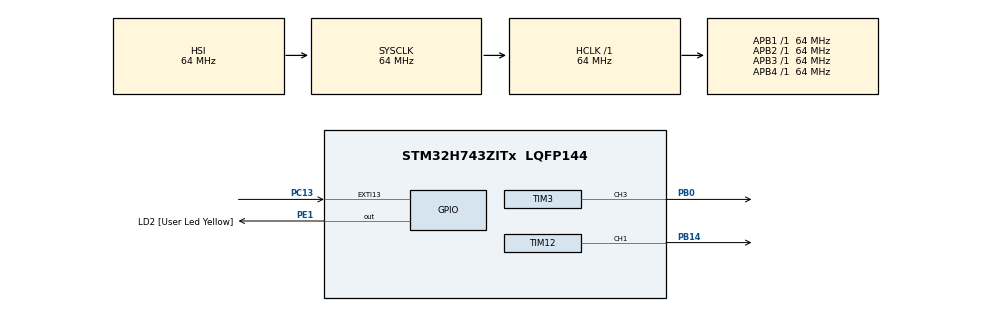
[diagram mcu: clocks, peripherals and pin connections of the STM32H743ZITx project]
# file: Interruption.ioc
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CORTEX_M7.default_mode_Activation=1
Mcu.Family=STM32H7
Mcu.Name=STM32H743ZITx
Mcu.Package=LQFP144
NVIC.EXTI15_10_IRQn=true\:0\:0\:false\:false\:true\:true\:true\:true
NVIC.PVD_AVD_IRQn=true\:0\:0\:false\:false\:true\:true\:true\:true
NVIC.PriorityGroup=NVIC_PRIORITYGROUP_4
PA13\ (JTMS/SWDIO).GPIO_Label=JTMS
PA13\ (JTMS/SWDIO).Signal=DEBUG_JTMS-SWDIO
PA14\ (JTCK/SWCLK).GPIO_Label=JTCK
PA14\ (JTCK/SWCLK).Signal=DEBUG_JTCK-SWCLK
PB0.Signal=S_TIM3_CH3
PB14.Signal=S_TIM12_CH1
PC13.Signal=GPXTI13
PC14-OSC32_IN\ (OSC32_IN).Signal=RCC_OSC32_IN
PC15-OSC32_OUT\ (OSC32_OUT).Signal=RCC_OSC32_OUT
PD8.GPIO_Label=STLINK_RX
PD8.Signal=USART3_TX
PD9.GPIO_Label=STLINK_TX
PD9.Signal=USART3_RX
PE1.GPIO_Label=LD2 [User Led Yellow]
PE1.Signal=GPIO_Output
PH0-OSC_IN\ (PH0).Signal=RCC_OSC_IN
PH1-OSC_OUT\ (PH1).Signal=RCC_OSC_OUT
ProjectManager.HeapSize=0x200
ProjectManager.StackSize=0x400
ProjectManager.TargetToolchain=STM32CubeIDE
RCC.ADCFreq_Value=129000000
RCC.APB1Freq_Value=64000000
RCC.APB2Freq_Value=64000000
RCC.APB3Freq_Value=64000000
RCC.APB4Freq_Value=64000000
RCC.CortexFreq_Value=64000000
RCC.HCLKFreq_Value=64000000
RCC.SYSCLKFreq_VALUE=64000000
RCC.USBFreq_Value=129000000
SH.S_TIM12_CH1.0=TIM12_CH1,PWM Generation1 CH1
SH.S_TIM3_CH3.0=TIM3_CH3,PWM Generation3 CH3
TIM12.Channel-PWM\ Generation1\ CH1=TIM_CHANNEL_1
TIM12.Period=999
TIM12.Prescaler=199
TIM3.Channel-PWM\ Generation3\ CH3=TIM_CHANNEL_3
TIM3.Period=999
TIM3.Prescaler=199
TIM3.Pulse-PWM\ Generation3\ CH3=500
VP_MEMORYMAP_VS_MEMORYMAP.Mode=CurAppReg
VP_TIM12_VS_ClockSourceINT.Mode=Internal
VP_TIM3_VS_ClockSourceINT.Mode=Internal
board=NUCLEO-H743ZI2

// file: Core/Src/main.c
/* USER CODE BEGIN Header */
/**
  ******************************************************************************
  * @file           : main.c
  * @brief          : Main program body
  ******************************************************************************
  * @attention
  *
  * Copyright (c) 2025 STMicroelectronics.
  * All rights reserved.
  *
  * This software is licensed under terms that can be found in the LICENSE file
  * in the root directory of this software component.
  * If no LICENSE file comes with this software, it is provided AS-IS.
  *
  ******************************************************************************
  */
/* USER CODE END Header */
#include "main.h"

TIM_HandleTypeDef htim3;
TIM_HandleTypeDef htim12;

/* USER CODE BEGIN PV */

volatile uint8_t activeLD = 1;

void HAL_GPIO_EXTI_Callback(uint16_t GPIO_Pin)
{
    if(GPIO_Pin == GPIO_PIN_13) {
        activeLD = !activeLD;
    }
}

/* USER CODE END PV */

void SystemClock_Config(void);
static void MPU_Config(void);
static void MX_GPIO_Init(void);
static void MX_TIM3_Init(void);
static void MX_TIM12_Init(void);

int main(void)
{

  /* MPU Configuration--------------------------------------------------------*/
  MPU_Config();

  /* MCU Configuration--------------------------------------------------------*/

  /* Reset of all peripherals, Initializes the Flash interface and the Systick. */
  HAL_Init();

  /* Configure the system clock */
  SystemClock_Config();

  /* Initialize all configured peripherals */
  MX_GPIO_Init();
  MX_TIM3_Init();
  MX_TIM12_Init();
  /* USER CODE BEGIN 2 */

  /* GPIO EXTI callback function */

  HAL_TIM_PWM_Start(&htim3, TIM_CHANNEL_3);
  HAL_TIM_PWM_Start(&htim12,TIM_CHANNEL_1);
  /* USER CODE END 2 */

  /* Infinite loop */
  /* USER CODE BEGIN WHILE */
  uint16_t dutyLD1 = 0;
  uint16_t dutyLD3 = 0;
  uint8_t increasingLD1 = 1;
  uint8_t increasingLD3 = 1;  while (1)
  {
    /* USER CODE END WHILE */

    /* USER CODE BEGIN 3 */
	  while (1)
	      {
	          if (activeLD) {  // LD1 active
	              // Update LD1 breathing
	              if (increasingLD1) {
	                  dutyLD1 += 10;
	                  if (dutyLD1 >= 1000) {
	                      increasingLD1 = 0;
	                  }
	              } else {
	                  dutyLD1 -= 10;
	                  if (dutyLD1 == 0) {
	                      increasingLD1 = 1;
	                  }
	              }
	              __HAL_TIM_SET_COMPARE(&htim3, TIM_CHANNEL_3, dutyLD1);
	              __HAL_TIM_SET_COMPARE(&htim12, TIM_CHANNEL_1, 0);  // Turn off LD3
	              dutyLD3 = 0;  // Reset LD3 state
	              increasingLD3 = 1;
	          } else {  // LD3 active
	              // Update LD3 breathing
	              if (increasingLD3) {
	                  dutyLD3 += 10;
	                  if (dutyLD3 >= 1000) {
	                      increasingLD3 = 0;
	                  }
	              } else {
	                  dutyLD3 -= 10;
	                  if (dutyLD3 == 0) {
	                      increasingLD3 = 1;
	                  }
	              }
	              __HAL_TIM_SET_COMPARE(&htim12, TIM_CHANNEL_1, dutyLD3);
	              __HAL_TIM_SET_COMPARE(&htim3, TIM_CHANNEL_3, 0);  // Turn off LD1
	              dutyLD1 = 0;  // Reset LD1 state
	              increasingLD1 = 1;
	          }

	          HAL_Delay(10);
	      }
  }
  /* USER CODE END 3 */
}

void SystemClock_Config(void)
{
  RCC_OscInitTypeDef RCC_OscInitStruct = {0};
  RCC_ClkInitTypeDef RCC_ClkInitStruct = {0};

  /** Supply configuration update enable
  */
  HAL_PWREx_ConfigSupply(PWR_LDO_SUPPLY);

  /** Configure the main internal regulator output voltage
  */
  __HAL_PWR_VOLTAGESCALING_CONFIG(PWR_REGULATOR_VOLTAGE_SCALE3);

  while(!__HAL_PWR_GET_FLAG(PWR_FLAG_VOSRDY)) {}

  /** Initializes the RCC Oscillators according to the specified parameters
  * in the RCC_OscInitTypeDef structure.
  */
  RCC_OscInitStruct.OscillatorType = RCC_OSCILLATORTYPE_HSI;
  RCC_OscInitStruct.HSIState = RCC_HSI_DIV1;
  RCC_OscInitStruct.HSICalibrationValue = RCC_HSICALIBRATION_DEFAULT;
  RCC_OscInitStruct.PLL.PLLState = RCC_PLL_NONE;
  if (HAL_RCC_OscConfig(&RCC_OscInitStruct) != HAL_OK)
  {
    Error_Handler();
  }

  /** Initializes the CPU, AHB and APB buses clocks
  */
  RCC_ClkInitStruct.ClockType = RCC_CLOCKTYPE_HCLK|RCC_CLOCKTYPE_SYSCLK
                              |RCC_CLOCKTYPE_PCLK1|RCC_CLOCKTYPE_PCLK2
                              |RCC_CLOCKTYPE_D3PCLK1|RCC_CLOCKTYPE_D1PCLK1;
  RCC_ClkInitStruct.SYSCLKSource = RCC_SYSCLKSOURCE_HSI;
  RCC_ClkInitStruct.SYSCLKDivider = RCC_SYSCLK_DIV1;
  RCC_ClkInitStruct.AHBCLKDivider = RCC_HCLK_DIV1;
  RCC_ClkInitStruct.APB3CLKDivider = RCC_APB3_DIV1;
  RCC_ClkInitStruct.APB1CLKDivider = RCC_APB1_DIV1;
  RCC_ClkInitStruct.APB2CLKDivider = RCC_APB2_DIV1;
  RCC_ClkInitStruct.APB4CLKDivider = RCC_APB4_DIV1;

  if (HAL_RCC_ClockConfig(&RCC_ClkInitStruct, FLASH_LATENCY_1) != HAL_OK)
  {
    Error_Handler();
  }
}

static void MX_TIM3_Init(void)
{

  TIM_ClockConfigTypeDef sClockSourceConfig = {0};
  TIM_MasterConfigTypeDef sMasterConfig = {0};
  TIM_OC_InitTypeDef sConfigOC = {0};

  htim3.Instance = TIM3;
  htim3.Init.Prescaler = 199;
  htim3.Init.CounterMode = TIM_COUNTERMODE_UP;
  htim3.Init.Period = 999;
  htim3.Init.ClockDivision = TIM_CLOCKDIVISION_DIV1;
  htim3.Init.AutoReloadPreload = TIM_AUTORELOAD_PRELOAD_DISABLE;
  if (HAL_TIM_Base_Init(&htim3) != HAL_OK)
  {
    Error_Handler();
  }
  sClockSourceConfig.ClockSource = TIM_CLOCKSOURCE_INTERNAL;
  if (HAL_TIM_ConfigClockSource(&htim3, &sClockSourceConfig) != HAL_OK)
  {
    Error_Handler();
  }
  if (HAL_TIM_PWM_Init(&htim3) != HAL_OK)
  {
    Error_Handler();
  }
  sMasterConfig.MasterOutputTrigger = TIM_TRGO_RESET;
  sMasterConfig.MasterSlaveMode = TIM_MASTERSLAVEMODE_DISABLE;
  if (HAL_TIMEx_MasterConfigSynchronization(&htim3, &sMasterConfig) != HAL_OK)
  {
    Error_Handler();
  }
  sConfigOC.OCMode = TIM_OCMODE_PWM1;
  sConfigOC.Pulse = 500;
  sConfigOC.OCPolarity = TIM_OCPOLARITY_HIGH;
  sConfigOC.OCFastMode = TIM_OCFAST_DISABLE;
  if (HAL_TIM_PWM_ConfigChannel(&htim3, &sConfigOC, TIM_CHANNEL_3) != HAL_OK)
  {
    Error_Handler();
  }
  HAL_TIM_MspPostInit(&htim3);

}

static void MX_TIM12_Init(void)
{

  TIM_ClockConfigTypeDef sClockSourceConfig = {0};
  TIM_MasterConfigTypeDef sMasterConfig = {0};
  TIM_OC_InitTypeDef sConfigOC = {0};

  htim12.Instance = TIM12;
  htim12.Init.Prescaler = 199;
  htim12.Init.CounterMode = TIM_COUNTERMODE_UP;
  htim12.Init.Period = 999;
  htim12.Init.ClockDivision = TIM_CLOCKDIVISION_DIV1;
  htim12.Init.AutoReloadPreload = TIM_AUTORELOAD_PRELOAD_DISABLE;
  if (HAL_TIM_Base_Init(&htim12) != HAL_OK)
  {
    Error_Handler();
  }
  sClockSourceConfig.ClockSource = TIM_CLOCKSOURCE_INTERNAL;
  if (HAL_TIM_ConfigClockSource(&htim12, &sClockSourceConfig) != HAL_OK)
  {
    Error_Handler();
  }
  if (HAL_TIM_PWM_Init(&htim12) != HAL_OK)
  {
    Error_Handler();
  }
  sMasterConfig.MasterOutputTrigger = TIM_TRGO_RESET;
  sMasterConfig.MasterSlaveMode = TIM_MASTERSLAVEMODE_DISABLE;
  if (HAL_TIMEx_MasterConfigSynchronization(&htim12, &sMasterConfig) != HAL_OK)
  {
    Error_Handler();
  }
  sConfigOC.OCMode = TIM_OCMODE_PWM1;
  sConfigOC.Pulse = 0;
  sConfigOC.OCPolarity = TIM_OCPOLARITY_HIGH;
  sConfigOC.OCFastMode = TIM_OCFAST_DISABLE;
  if (HAL_TIM_PWM_ConfigChannel(&htim12, &sConfigOC, TIM_CHANNEL_1) != HAL_OK)
  {
    Error_Handler();
  }
  HAL_TIM_MspPostInit(&htim12);

}

static void MX_GPIO_Init(void)
{
  GPIO_InitTypeDef GPIO_InitStruct = {0};

  /* GPIO Ports Clock Enable */
  __HAL_RCC_GPIOC_CLK_ENABLE();
  __HAL_RCC_GPIOH_CLK_ENABLE();
  __HAL_RCC_GPIOB_CLK_ENABLE();
  __HAL_RCC_GPIOD_CLK_ENABLE();
  __HAL_RCC_GPIOA_CLK_ENABLE();
  __HAL_RCC_GPIOE_CLK_ENABLE();

  /*Configure GPIO pin Output Level */
  HAL_GPIO_WritePin(LD2_GPIO_Port, LD2_Pin, GPIO_PIN_RESET);

  /*Configure GPIO pin : PC13 */
  GPIO_InitStruct.Pin = GPIO_PIN_13;
  GPIO_InitStruct.Mode = GPIO_MODE_IT_RISING;
  GPIO_InitStruct.Pull = GPIO_NOPULL;
  HAL_GPIO_Init(GPIOC, &GPIO_InitStruct);

  /*Configure GPIO pins : STLINK_RX_Pin STLINK_TX_Pin */
  GPIO_InitStruct.Pin = STLINK_RX_Pin|STLINK_TX_Pin;
  GPIO_InitStruct.Mode = GPIO_MODE_AF_PP;
  GPIO_InitStruct.Pull = GPIO_NOPULL;
  GPIO_InitStruct.Speed = GPIO_SPEED_FREQ_LOW;
  GPIO_InitStruct.Alternate = GPIO_AF7_USART3;
  HAL_GPIO_Init(GPIOD, &GPIO_InitStruct);

  /*Configure GPIO pin : LD2_Pin */
  GPIO_InitStruct.Pin = LD2_Pin;
  GPIO_InitStruct.Mode = GPIO_MODE_OUTPUT_PP;
  GPIO_InitStruct.Pull = GPIO_NOPULL;
  GPIO_InitStruct.Speed = GPIO_SPEED_FREQ_LOW;
  HAL_GPIO_Init(LD2_GPIO_Port, &GPIO_InitStruct);

  /* EXTI interrupt init*/
  HAL_NVIC_SetPriority(EXTI15_10_IRQn, 0, 0);
  HAL_NVIC_EnableIRQ(EXTI15_10_IRQn);

}

 /* MPU Configuration */

void MPU_Config(void)
{
  MPU_Region_InitTypeDef MPU_InitStruct = {0};

  /* Disables the MPU */
  HAL_MPU_Disable();

  /** Initializes and configures the Region and the memory to be protected
  */
  MPU_InitStruct.Enable = MPU_REGION_ENABLE;
  MPU_InitStruct.Number = MPU_REGION_NUMBER0;
  MPU_InitStruct.BaseAddress = 0x0;
  MPU_InitStruct.Size = MPU_REGION_SIZE_4GB;
  MPU_InitStruct.SubRegionDisable = 0x87;
  MPU_InitStruct.TypeExtField = MPU_TEX_LEVEL0;
  MPU_InitStruct.AccessPermission = MPU_REGION_NO_ACCESS;
  MPU_InitStruct.DisableExec = MPU_INSTRUCTION_ACCESS_DISABLE;
  MPU_InitStruct.IsShareable = MPU_ACCESS_SHAREABLE;
  MPU_InitStruct.IsCacheable = MPU_ACCESS_NOT_CACHEABLE;
  MPU_InitStruct.IsBufferable = MPU_ACCESS_NOT_BUFFERABLE;

  HAL_MPU_ConfigRegion(&MPU_InitStruct);
  /* Enables the MPU */
  HAL_MPU_Enable(MPU_PRIVILEGED_DEFAULT);

}

void Error_Handler(void)
{
  __disable_irq();
  while (1)
  {
  }
}
